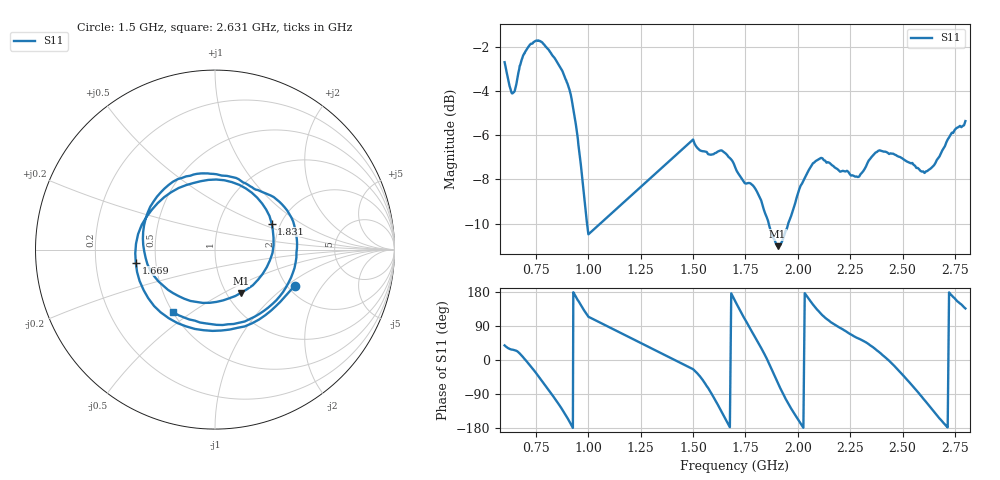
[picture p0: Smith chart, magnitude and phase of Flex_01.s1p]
!File created by NanoVNA
# Hz S RI R 50
!LO
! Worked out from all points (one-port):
!   402 points, 600 MHz to 2.8 GHz, reference 50 ohm
!   lowest |S11| = -11.0 dB at 1.903 GHz (marker M1), VSWR 1.78, Z = 58.3 - j30.5 ohm
!   |S11| at or under -10 dB: 993.4 MHz to 1.057 GHz (63.63 MHz wide, 6.21 % of centre); 1.861 GHz to 1.954 GHz (93.39 MHz wide, 4.9 % of centre)
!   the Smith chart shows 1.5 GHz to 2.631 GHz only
!   S11 on the Smith chart (normalised r, x): 1.5 GHz: 2.19, -1.16; 1.669 GHz: 0.38, -0.07; 1.831 GHz: 1.80, +0.59; 2.631 GHz: 0.50, -0.43
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6e8  0.5726 0.4564
6.44e8  0.5611 0.2782
6.74e8  0.692 0.2001
7.4e8  0.7243 -0.3708
8.08e8  0.1672 -0.7655
8.76e8  -0.4634 -0.5238
9.2e8  -0.6 -0.0716
9.78e8  -0.2481 0.2755
9.96e8  -0.143 0.2737
1e9  -0.1223 0.2727
1.5e9  0.446 -0.2019
1.513e9  0.4059 -0.244
1.5845e9  0.0348 -0.451
1.6235e9  -0.2568 -0.3829
1.669e9  -0.4413 -0.0723
1.7015e9  -0.3816 0.1827
1.7665e9  0.0071 0.3905
1.8315e9  0.3158 0.1453
1.903e9  0.1446 -0.241
1.981e9  -0.2615 -0.2246
2.0395e9  -0.4018 0.0621
2.111e9  -0.2338 0.3786
2.254e9  0.1562 0.3746
2.4165e9  0.4558 0.0599
2.527e9  0.248 -0.3578
2.631e9  -0.2313 -0.3504
2.722e9  -0.4949 0.0136
2.8e9  -0.388 0.3741
